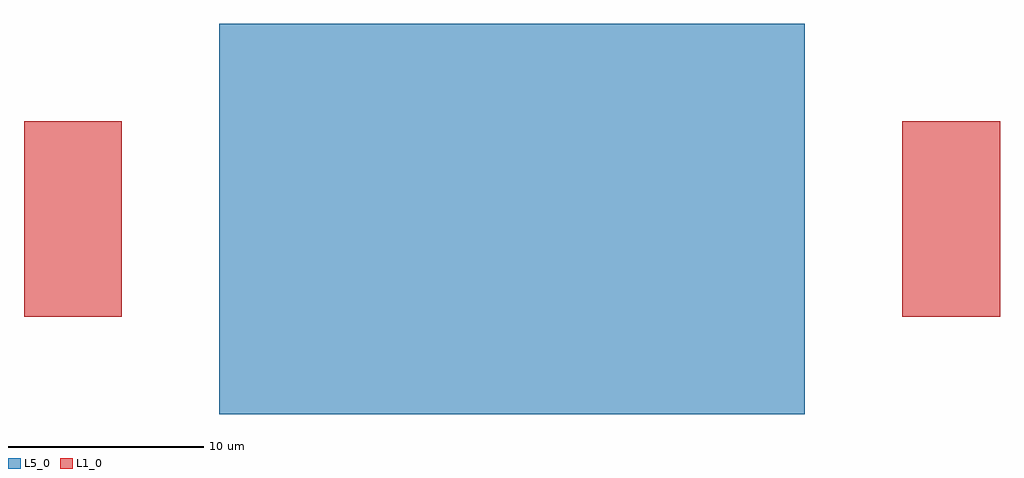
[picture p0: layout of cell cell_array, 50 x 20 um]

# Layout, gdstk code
import gdstk
lib = gdstk.Library(unit=1e-6, precision=1e-09)
def R(c, l, rs):  # rectangles x0, y0, x1, y1
    for r in rs: c.add(gdstk.rectangle(r[:2], r[2:], *l))
L1_0 = (1, 0)
L5_0 = (5, 0)

standard_cell_c1 = lib.new_cell('standard_cell_c1')
R(standard_cell_c1, L1_0, [(0,10,5,20), (45,10,50,20)])
R(standard_cell_c1, L5_0, [(10,5,40,25)])

standard_cell_c2 = lib.new_cell('standard_cell_c2')
R(standard_cell_c2, L1_0, [(0,10,5,20), (45,10,50,20)])
R(standard_cell_c2, L5_0, [(10,5,40,25)])

standard_cell_c3 = lib.new_cell('standard_cell_c3')
R(standard_cell_c3, L1_0, [(0,10,5,20), (45,10,50,20)])
R(standard_cell_c3, L5_0, [(10,5,40,25)])

standard_cell_c4 = lib.new_cell('standard_cell_c4')
R(standard_cell_c4, L1_0, [(0,10,5,20), (45,10,50,20)])
R(standard_cell_c4, L5_0, [(10,5,40,25)])

standard_cell_c5 = lib.new_cell('standard_cell_c5')
R(standard_cell_c5, L1_0, [(0,10,5,20), (45,10,50,20)])
R(standard_cell_c5, L5_0, [(10,5,40,25)])

cell_row_c1 = lib.new_cell('cell_row_c1')
cell_row_c1.add(gdstk.Reference(standard_cell_c1, (0,5)))
cell_row_c1.add(gdstk.Reference(standard_cell_c2, (0,5)))
cell_row_c1.add(gdstk.Reference(standard_cell_c3, (0,5)))
cell_row_c1.add(gdstk.Reference(standard_cell_c4, (0,5)))
cell_row_c1.add(gdstk.Reference(standard_cell_c5, (0,5)))

cell_row_c2 = lib.new_cell('cell_row_c2')
cell_row_c2.add(gdstk.Reference(standard_cell_c1, (0,5)))
cell_row_c2.add(gdstk.Reference(standard_cell_c2, (0,5)))
cell_row_c2.add(gdstk.Reference(standard_cell_c3, (0,5)))
cell_row_c2.add(gdstk.Reference(standard_cell_c4, (0,5)))
cell_row_c2.add(gdstk.Reference(standard_cell_c5, (0,5)))

cell_row_c3 = lib.new_cell('cell_row_c3')
cell_row_c3.add(gdstk.Reference(standard_cell_c1, (0,5)))
cell_row_c3.add(gdstk.Reference(standard_cell_c2, (0,5)))
cell_row_c3.add(gdstk.Reference(standard_cell_c3, (0,5)))
cell_row_c3.add(gdstk.Reference(standard_cell_c4, (0,5)))
cell_row_c3.add(gdstk.Reference(standard_cell_c5, (0,5)))

cell_array = lib.new_cell('cell_array')
cell_array.add(gdstk.Reference(cell_row_c1, (0,5)))
cell_array.add(gdstk.Reference(cell_row_c2, (0,5)))
cell_array.add(gdstk.Reference(cell_row_c3, (0,5)))

lib.write_gds('cell_array.gds')
